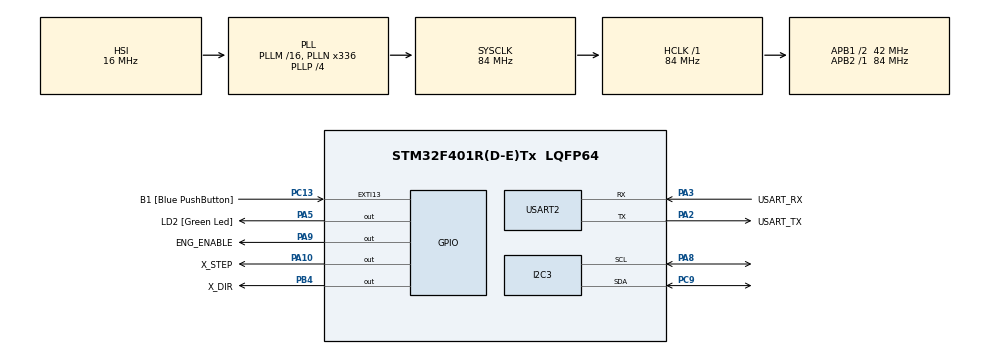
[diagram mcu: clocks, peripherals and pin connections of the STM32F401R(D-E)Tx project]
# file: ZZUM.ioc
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FREERTOS.Tasks01=defaultTask,24,128,StartDefaultTask,Default,NULL,Dynamic,NULL,NULL;encoder_task,8,128,start_encoder_task,Default,NULL,Static,encoder_taskBuffer,encoder_taskControlBlock;eng_control_tas,8,128,start_eng_control_task,Default,NULL,Static,eng_control_tasBuffer,eng_control_tasControlBlock;uart_gcode_task,8,128,start_uart_gcode_task,Default,NULL,Static,uart_gcode_taskBuffer,uart_gcode_taskControlBlock
FREERTOS.configUSE_NEWLIB_REENTRANT=1
Mcu.Family=STM32F4
Mcu.Name=STM32F401R(D-E)Tx
Mcu.Package=LQFP64
NVIC.PriorityGroup=NVIC_PRIORITYGROUP_4
NVIC.TIM1_UP_TIM10_IRQn=true\:15\:0\:false\:false\:true\:false\:false\:true\:true
NVIC.TimeBase=TIM1_UP_TIM10_IRQn
NVIC.TimeBaseIP=TIM10
PA10.GPIO_Label=X_STEP
PA10.Signal=GPIO_Output
PA13.GPIO_Label=TMS
PA13.Mode=Serial_Wire
PA13.Signal=SYS_JTMS-SWDIO
PA14.GPIO_Label=TCK
PA14.Mode=Serial_Wire
PA14.Signal=SYS_JTCK-SWCLK
PA2.GPIO_Label=USART_TX
PA2.GPIO_Mode=GPIO_MODE_AF_PP
PA2.GPIO_PuPd=GPIO_NOPULL
PA2.GPIO_Speed=GPIO_SPEED_FREQ_LOW
PA2.Mode=Asynchronous
PA2.Signal=USART2_TX
PA3.GPIO_Label=USART_RX
PA3.GPIO_Mode=GPIO_MODE_AF_PP
PA3.GPIO_PuPd=GPIO_NOPULL
PA3.GPIO_Speed=GPIO_SPEED_FREQ_LOW
PA3.Mode=Asynchronous
PA3.Signal=USART2_RX
PA5.GPIO_Label=LD2 [Green Led]
PA5.GPIO_Mode=GPIO_MODE_OUTPUT_PP
PA5.GPIO_PuPd=GPIO_NOPULL
PA5.GPIO_Speed=GPIO_SPEED_FREQ_LOW
PA5.Signal=GPIO_Output
PA8.GPIO_Pu=GPIO_PULLUP
PA8.Mode=I2C
PA8.Signal=I2C3_SCL
PA9.GPIO_Label=ENG_ENABLE
PA9.Signal=GPIO_Output
PB3.GPIO_Label=SWO
PB3.Signal=SYS_JTDO-SWO
PB4.GPIO_Label=X_DIR
PB4.Signal=GPIO_Output
PC13-ANTI_TAMP.GPIO_Label=B1 [Blue PushButton]
PC13-ANTI_TAMP.GPIO_ModeDefaultEXTI=GPIO_MODE_IT_FALLING
PC13-ANTI_TAMP.GPIO_PuPd=GPIO_NOPULL
PC13-ANTI_TAMP.Signal=GPXTI13
PC14-OSC32_IN.Mode=LSE-External-Oscillator
PC14-OSC32_IN.Signal=RCC_OSC32_IN
PC15-OSC32_OUT.Mode=LSE-External-Oscillator
PC15-OSC32_OUT.Signal=RCC_OSC32_OUT
PC9.GPIO_Pu=GPIO_PULLUP
PC9.Mode=I2C
PC9.Signal=I2C3_SDA
PH0\ -\ OSC_IN.Mode=HSE-External-Clock-Source
PH0\ -\ OSC_IN.Signal=RCC_OSC_IN
PH1\ -\ OSC_OUT.Mode=HSE-External-Clock-Source
PH1\ -\ OSC_OUT.Signal=RCC_OSC_OUT
ProjectManager.HeapSize=0x200
ProjectManager.StackSize=0x400
ProjectManager.TargetToolchain=STM32CubeIDE
RCC.48MHZClocksFreq_Value=48000000
RCC.AHBFreq_Value=84000000
RCC.APB1CLKDivider=RCC_HCLK_DIV2
RCC.APB1Freq_Value=42000000
RCC.APB1TimFreq_Value=84000000
RCC.APB2Freq_Value=84000000
RCC.APB2TimFreq_Value=84000000
RCC.CortexFreq_Value=84000000
RCC.HCLKFreq_Value=84000000
RCC.HSE_VALUE=8000000
RCC.HSI_VALUE=16000000
RCC.PLLN=336
RCC.PLLP=RCC_PLLP_DIV4
RCC.PLLQ=7
RCC.SYSCLKFreq_VALUE=84000000
RCC.SYSCLKSource=RCC_SYSCLKSOURCE_PLLCLK
RCC.VCOOutputFreq_Value=336000000
USART2.VirtualMode=VM_ASYNC
VP_FREERTOS_VS_CMSIS_V2.Mode=CMSIS_V2
VP_SYS_VS_tim10.Mode=TIM10
board=NUCLEO-F401RE

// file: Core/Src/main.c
/* USER CODE BEGIN Header */
/**
  ******************************************************************************
  * @file           : main.c
  * @brief          : Main program body
  ******************************************************************************
  * @attention
  *
  * Copyright (c) 2025 STMicroelectronics.
  * All rights reserved.
  *
  * This software is licensed under terms that can be found in the LICENSE file
  * in the root directory of this software component.
  * If no LICENSE file comes with this software, it is provided AS-IS.
  *
  ******************************************************************************
  */
/* USER CODE END Header */
#include "main.h"
#include "cmsis_os.h"

typedef StaticTask_t osStaticThreadDef_t;

I2C_HandleTypeDef hi2c3;

UART_HandleTypeDef huart2;

/* Definitions for defaultTask */
osThreadId_t defaultTaskHandle;
const osThreadAttr_t defaultTask_attributes = {
  .name = "defaultTask",
  .stack_size = 128 * 4,
  .priority = (osPriority_t) osPriorityNormal,
};
/* Definitions for encoder_task */
osThreadId_t encoder_taskHandle;
uint32_t encoder_taskBuffer[ 128 ];
osStaticThreadDef_t encoder_taskControlBlock;
const osThreadAttr_t encoder_task_attributes = {
  .name = "encoder_task",
  .cb_mem = &encoder_taskControlBlock,
  .cb_size = sizeof(encoder_taskControlBlock),
  .stack_mem = &encoder_taskBuffer[0],
  .stack_size = sizeof(encoder_taskBuffer),
  .priority = (osPriority_t) osPriorityLow,
};
/* Definitions for eng_control_tas */
osThreadId_t eng_control_tasHandle;
uint32_t eng_control_tasBuffer[ 128 ];
osStaticThreadDef_t eng_control_tasControlBlock;
const osThreadAttr_t eng_control_tas_attributes = {
  .name = "eng_control_tas",
  .cb_mem = &eng_control_tasControlBlock,
  .cb_size = sizeof(eng_control_tasControlBlock),
  .stack_mem = &eng_control_tasBuffer[0],
  .stack_size = sizeof(eng_control_tasBuffer),
  .priority = (osPriority_t) osPriorityLow,
};
/* Definitions for uart_gcode_task */
osThreadId_t uart_gcode_taskHandle;
uint32_t uart_gcode_taskBuffer[ 128 ];
osStaticThreadDef_t uart_gcode_taskControlBlock;
const osThreadAttr_t uart_gcode_task_attributes = {
  .name = "uart_gcode_task",
  .cb_mem = &uart_gcode_taskControlBlock,
  .cb_size = sizeof(uart_gcode_taskControlBlock),
  .stack_mem = &uart_gcode_taskBuffer[0],
  .stack_size = sizeof(uart_gcode_taskBuffer),
  .priority = (osPriority_t) osPriorityLow,
};
/* USER CODE BEGIN PV */
extern UART_HandleTypeDef huart2;

int _write(int file, char *ptr, int len)
{
    HAL_UART_Transmit(&huart2, (uint8_t*)ptr, len, HAL_MAX_DELAY);
    return len;
}
/* USER CODE END PV */

void SystemClock_Config(void);
static void MX_GPIO_Init(void);
static void MX_USART2_UART_Init(void);
static void MX_I2C3_Init(void);
void StartDefaultTask(void *argument);
void start_encoder_task(void *argument);
void start_eng_control_task(void *argument);
void start_uart_gcode_task(void *argument);

int main(void)
{

  /* USER CODE BEGIN 1 */
	 HAL_Init();
	  SystemClock_Config();
	  MX_GPIO_Init();
	  MX_I2C3_Init();   // PA8/PC9 @100kHz

	  HAL_GPIO_WritePin(GPIOA, GPIO_PIN_9, GPIO_PIN_RESET);
	  // prosta pętla 100 Hz
	  uint32_t next = HAL_GetTick();
	  const uint32_t period = 10; // 100 Hz

  /* USER CODE END 1 */

  /* MCU Configuration--------------------------------------------------------*/

  /* Reset of all peripherals, Initializes the Flash interface and the Systick. */
  HAL_Init();

  /* Configure the system clock */
  SystemClock_Config();

  /* Initialize all configured peripherals */
  MX_GPIO_Init();
  MX_USART2_UART_Init();
  MX_I2C3_Init();

  /* Init scheduler */
  osKernelInitialize();

  /* Create the thread(s) */
  /* creation of defaultTask */
  defaultTaskHandle = osThreadNew(StartDefaultTask, NULL, &defaultTask_attributes);

  /* creation of encoder_task */
  encoder_taskHandle = osThreadNew(start_encoder_task, NULL, &encoder_task_attributes);

  /* creation of eng_control_tas */
  eng_control_tasHandle = osThreadNew(start_eng_control_task, NULL, &eng_control_tas_attributes);

  /* creation of uart_gcode_task */
  uart_gcode_taskHandle = osThreadNew(start_uart_gcode_task, NULL, &uart_gcode_task_attributes);

  /* Start scheduler */
  osKernelStart();

  /* We should never get here as control is now taken by the scheduler */

  /* Infinite loop */
  while (1)
  {

}

void SystemClock_Config(void)
{
  RCC_OscInitTypeDef RCC_OscInitStruct = {0};
  RCC_ClkInitTypeDef RCC_ClkInitStruct = {0};

  /** Configure the main internal regulator output voltage
  */
  __HAL_RCC_PWR_CLK_ENABLE();
  __HAL_PWR_VOLTAGESCALING_CONFIG(PWR_REGULATOR_VOLTAGE_SCALE2);

  /** Initializes the RCC Oscillators according to the specified parameters
  * in the RCC_OscInitTypeDef structure.
  */
  RCC_OscInitStruct.OscillatorType = RCC_OSCILLATORTYPE_HSI;
  RCC_OscInitStruct.HSIState = RCC_HSI_ON;
  RCC_OscInitStruct.HSICalibrationValue = RCC_HSICALIBRATION_DEFAULT;
  RCC_OscInitStruct.PLL.PLLState = RCC_PLL_ON;
  RCC_OscInitStruct.PLL.PLLSource = RCC_PLLSOURCE_HSI;
  RCC_OscInitStruct.PLL.PLLM = 16;
  RCC_OscInitStruct.PLL.PLLN = 336;
  RCC_OscInitStruct.PLL.PLLP = RCC_PLLP_DIV4;
  RCC_OscInitStruct.PLL.PLLQ = 7;
  if (HAL_RCC_OscConfig(&RCC_OscInitStruct) != HAL_OK)
  {
    Error_Handler();
  }

  /** Initializes the CPU, AHB and APB buses clocks
  */
  RCC_ClkInitStruct.ClockType = RCC_CLOCKTYPE_HCLK|RCC_CLOCKTYPE_SYSCLK
                              |RCC_CLOCKTYPE_PCLK1|RCC_CLOCKTYPE_PCLK2;
  RCC_ClkInitStruct.SYSCLKSource = RCC_SYSCLKSOURCE_PLLCLK;
  RCC_ClkInitStruct.AHBCLKDivider = RCC_SYSCLK_DIV1;
  RCC_ClkInitStruct.APB1CLKDivider = RCC_HCLK_DIV2;
  RCC_ClkInitStruct.APB2CLKDivider = RCC_HCLK_DIV1;

  if (HAL_RCC_ClockConfig(&RCC_ClkInitStruct, FLASH_LATENCY_2) != HAL_OK)
  {
    Error_Handler();
  }
}

static void MX_I2C3_Init(void)
{

  hi2c3.Instance = I2C3;
  hi2c3.Init.ClockSpeed = 100000;
  hi2c3.Init.DutyCycle = I2C_DUTYCYCLE_2;
  hi2c3.Init.OwnAddress1 = 0;
  hi2c3.Init.AddressingMode = I2C_ADDRESSINGMODE_7BIT;
  hi2c3.Init.DualAddressMode = I2C_DUALADDRESS_DISABLE;
  hi2c3.Init.OwnAddress2 = 0;
  hi2c3.Init.GeneralCallMode = I2C_GENERALCALL_DISABLE;
  hi2c3.Init.NoStretchMode = I2C_NOSTRETCH_DISABLE;
  if (HAL_I2C_Init(&hi2c3) != HAL_OK)
  {
    Error_Handler();
  }

}

static void MX_USART2_UART_Init(void)
{

  huart2.Instance = USART2;
  huart2.Init.BaudRate = 115200;
  huart2.Init.WordLength = UART_WORDLENGTH_8B;
  huart2.Init.StopBits = UART_STOPBITS_1;
  huart2.Init.Parity = UART_PARITY_NONE;
  huart2.Init.Mode = UART_MODE_TX_RX;
  huart2.Init.HwFlowCtl = UART_HWCONTROL_NONE;
  huart2.Init.OverSampling = UART_OVERSAMPLING_16;
  if (HAL_UART_Init(&huart2) != HAL_OK)
  {
    Error_Handler();
  }

}

static void MX_GPIO_Init(void)
{
  GPIO_InitTypeDef GPIO_InitStruct = {0};

  /* GPIO Ports Clock Enable */
  __HAL_RCC_GPIOC_CLK_ENABLE();
  __HAL_RCC_GPIOH_CLK_ENABLE();
  __HAL_RCC_GPIOA_CLK_ENABLE();
  __HAL_RCC_GPIOB_CLK_ENABLE();

  /*Configure GPIO pin Output Level */
  HAL_GPIO_WritePin(GPIOA, LD2_Pin|ENG_ENABLE_Pin|X_STEP_Pin, GPIO_PIN_RESET);

  /*Configure GPIO pin Output Level */
  HAL_GPIO_WritePin(X_DIR_GPIO_Port, X_DIR_Pin, GPIO_PIN_RESET);

  /*Configure GPIO pin : B1_Pin */
  GPIO_InitStruct.Pin = B1_Pin;
  GPIO_InitStruct.Mode = GPIO_MODE_IT_FALLING;
  GPIO_InitStruct.Pull = GPIO_NOPULL;
  HAL_GPIO_Init(B1_GPIO_Port, &GPIO_InitStruct);

  /*Configure GPIO pins : LD2_Pin ENG_ENABLE_Pin X_STEP_Pin */
  GPIO_InitStruct.Pin = LD2_Pin|ENG_ENABLE_Pin|X_STEP_Pin;
  GPIO_InitStruct.Mode = GPIO_MODE_OUTPUT_PP;
  GPIO_InitStruct.Pull = GPIO_NOPULL;
  GPIO_InitStruct.Speed = GPIO_SPEED_FREQ_LOW;
  HAL_GPIO_Init(GPIOA, &GPIO_InitStruct);

  /*Configure GPIO pin : X_DIR_Pin */
  GPIO_InitStruct.Pin = X_DIR_Pin;
  GPIO_InitStruct.Mode = GPIO_MODE_OUTPUT_PP;
  GPIO_InitStruct.Pull = GPIO_NOPULL;
  GPIO_InitStruct.Speed = GPIO_SPEED_FREQ_LOW;
  HAL_GPIO_Init(X_DIR_GPIO_Port, &GPIO_InitStruct);

}

void StartDefaultTask(void *argument)
{
  for(;;)
  {
    osDelay(1);
  }
}

void start_encoder_task(void *argument)
{
  /* USER CODE BEGIN start_encoder_task */
  /* Infinite loop */
  for(;;)
  {
	  HAL_GPIO_TogglePin(GPIOA, GPIO_PIN_5);

	  uint16_t raw;
	  if (AS5600_ReadRaw12(&raw))
	  {
		  printf("%u\r\n", raw);  // wypisz samą wartość surową
	  }
	  else
	  {
		  printf("error\r\n");
	  }

	  for(int i=0; i<32; i++)
	  {
		  HAL_GPIO_TogglePin(GPIOA, GPIO_PIN_10);
		  osDelay(2);
	  }
	  osDelay(200);

  }
  /* USER CODE END start_encoder_task */
}

void start_eng_control_task(void *argument)
{
  for(;;)
  {
    osDelay(1);
  }
}

void start_uart_gcode_task(void *argument)
{
  for(;;)
  {
    osDelay(1);
  }
}

void HAL_TIM_PeriodElapsedCallback(TIM_HandleTypeDef *htim)
{
  if (htim->Instance == TIM10) {
    HAL_IncTick();
  }
}

void Error_Handler(void)
{
  __disable_irq();
  while (1)
  {
  }
}
